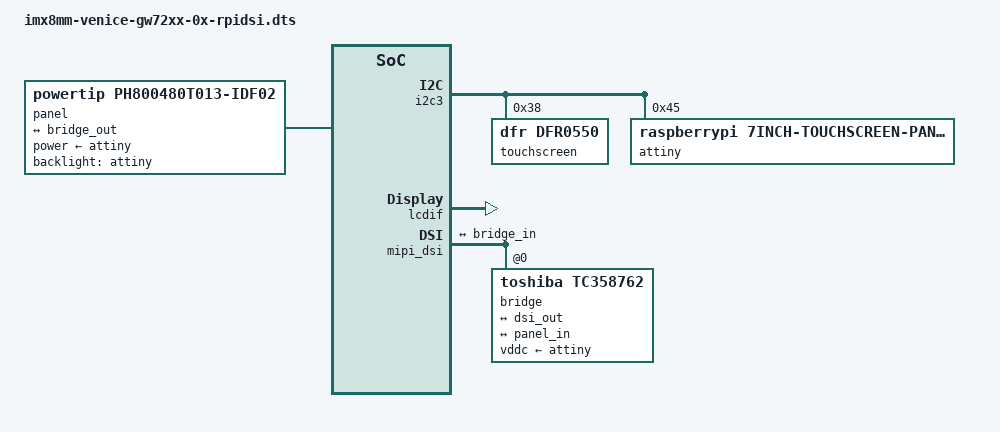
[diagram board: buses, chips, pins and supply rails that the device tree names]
// SPDX-License-Identifier: (GPL-2.0+ OR MIT)
/*
 * Copyright 2022 Gateworks Corporation
 */

#include <dt-bindings/gpio/gpio.h>

#include "imx8mm-pinfunc.h"

/dts-v1/;
/plugin/;

&{/} {
	compatible = "gw,imx8mm-gw72xx-0x", "fsl,imx8mm";

	panel {
		compatible = "powertip,ph800480t013-idf02";
		power-supply = <&attiny>;
		backlight = <&attiny>;

		port {
			panel_in: endpoint {
				remote-endpoint = <&bridge_out>;
			};
		};
	};
};

&i2c3 {
	#address-cells = <1>;
	#size-cells = <0>;

	touchscreen@38 {
		compatible = "dfr,dfr0550";
		reg = <0x38>;
		poll-interval = <17>; /* 17:60fps */
		invert;
		screen-x = <800>;
		screen-y = <480>;
	};

	attiny: regulator@45 {
		compatible = "raspberrypi,7inch-touchscreen-panel-regulator";
		reg = <0x45>;
	};
};

&lcdif {
	status = "okay";
};

&mipi_dsi {
	/*
	 * TODO:
	 *  samsung,pll-clock-frequency is IMX8MM_CLK_DSI_PHY_REF and
	 *  samsung,burst-clock-frequency is the DSI link clock
	 *  which is panel/bridge specific.
	 *
	 *  This should not be described in dt but instead the panel/bridge
	 *  drivers should negotiate the best clock settings with the DSIM
	 *  bridge driver implemented in the DRM subsystem.
	 */
	samsung,burst-clock-frequency = <891000000>;
	samsung,esc-clock-frequency = <54000000>;
	samsung,pll-clock-frequency = <27000000>;
	status = "okay";

	bridge@0 {
		compatible = "toshiba,tc358762";
		reg = <0>;
		vddc-supply = <&attiny>;
		#address-cells = <1>;
		#size-cells = <0>;
		status = "okay";

		ports {
			#address-cells = <1>;
			#size-cells = <0>;

			port@0 {
				reg = <0>;
				bridge_in: endpoint {
					remote-endpoint = <&dsi_out>;
				};
			};

			port@1 {
				reg = <1>;
				bridge_out: endpoint {
					remote-endpoint = <&panel_in>;
				};
			};
		};
	};

	ports {
		#address-cells = <1>;
		#size-cells = <0>;

		port@1 {
			reg = <1>;
			dsi_out: endpoint {
				remote-endpoint = <&bridge_in>;
			};
		};
	};
};
